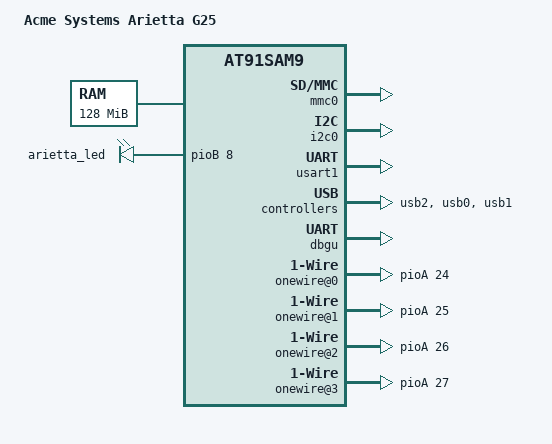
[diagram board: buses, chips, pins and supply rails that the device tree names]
/*
 * Device Tree file for Arietta G25 and DS485
 * https://www.acmesystems.it/DS485
 */
 
/dts-v1/;
#include "at91sam9g25.dtsi"
/ {
	model = "Acme Systems Arietta G25";
	compatible = "acme,ariettag25", "atmel,at91sam9x5", "atmel,at91sam9";

	aliases {
		serial0 = &dbgu;
	};

	chosen {
		stdout-path = "serial0:115200n8";
		bootargs = "mem=256M  console=ttyS0,115200 root=/dev/mmcblk0p2 rw rootwait";
	};

	memory {
		reg = <0x20000000 0x8000000>;
	};

	clocks {
		slow_xtal {
			clock-frequency = <32768>;
		};

		main_xtal {
			clock-frequency = <12000000>;
		};
	};

	ahb {
		apb {
			mmc0: mmc@f0008000 {
				pinctrl-0 = <
				  &pinctrl_mmc0_slot0_clk_cmd_dat0
				  &pinctrl_mmc0_slot0_dat1_3>;
				status = "okay";

				slot@0 {
					reg = <0>;
					bus-width = <4>;
				};
			};

			i2c0: i2c@f8010000 {
				status ="okay";
			};

			usart1: serial@f8020000 {
				pinctrl-0 = <&pinctrl_usart1 &pinctrl_usart1_rts &pinctrl_usart1_cts>;
				linux,rs485-enabled-at-boot-time;
				rs485-rts-delay = <0 0>;
				status ="okay";
			};

			usb2: gadget@f803c000 {
				status = "okay";
			};

			dbgu: serial@fffff200 {
				status = "okay";
			};

			rtc@fffffeb0 {
				status = "okay";
			};
		};

		usb0: ohci@600000 {
			status = "okay";
			num-ports = <3>;
		};

		usb1: ehci@700000 {
			status = "okay";
		};
	};

	leds {
		compatible = "gpio-leds";
		arietta_led {
			label = "arietta_led";
			gpios = <&pioB 8 GPIO_ACTIVE_HIGH>; /* PB8 */
			linux,default-trigger = "heartbeat";
		};
	};

	onewire@0 {
		compatible = "w1-gpio";
		gpios = <&pioA 24 GPIO_ACTIVE_LOW>;
	};
	onewire@1 {
		compatible = "w1-gpio";
		gpios = <&pioA 25 GPIO_ACTIVE_LOW>;
	};
	onewire@2 {
		compatible = "w1-gpio";
		gpios = <&pioA 26 GPIO_ACTIVE_LOW>;
	};
	onewire@3 {
		compatible = "w1-gpio";
		gpios = <&pioA 27 GPIO_ACTIVE_LOW>;
	};
	
};
